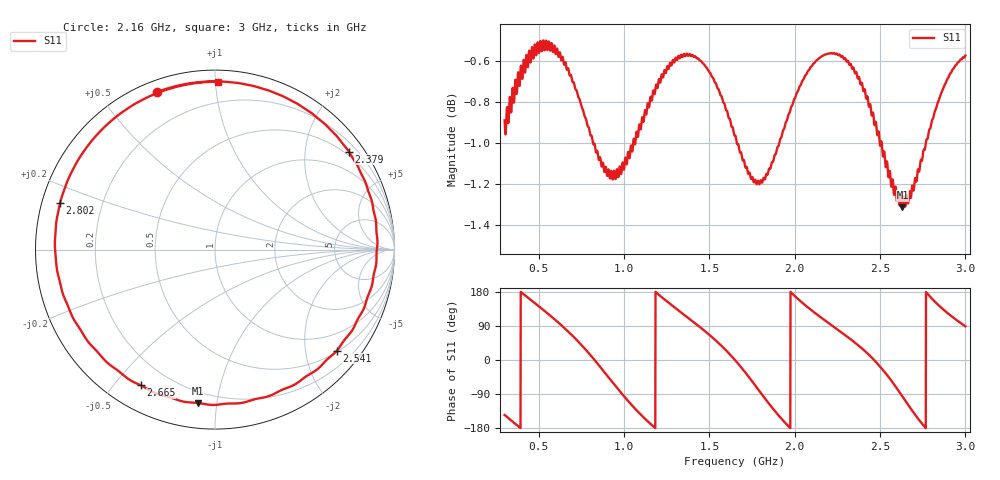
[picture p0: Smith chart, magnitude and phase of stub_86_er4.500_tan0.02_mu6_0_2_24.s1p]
! Chirptenna · simulación 3D de un stub abierto
# HZ S RI R 50
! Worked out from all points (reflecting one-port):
!   2001 points, 300 MHz to 3 GHz, reference 50 ohm
!   lowest |S11| = -1.3 dB at 2.631 GHz (marker M1), VSWR 13.25, Z = 6.75 - j44.2 ohm
!   phase of S11 starts at -145 deg and turns -1206 deg over the sweep
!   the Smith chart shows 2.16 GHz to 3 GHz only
!   S11 on the Smith chart (normalised r, x): 2.16 GHz: 0.05, +0.70; 2.379 GHz: 0.40, +3.01; 2.541 GHz: 0.53, -2.68; 2.665 GHz: 0.10, -0.59; 2.802 GHz: 0.05, +0.15; 3 GHz: 0.07, +1.02
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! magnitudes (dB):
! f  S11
! 300 MHz  -0.9
! 387.8 MHz  -0.7
! 468.8 MHz  -0.6
! 551.1 MHz  -0.5
! 637.5 MHz  -0.6
! 875.1 MHz  -1.1
! 975 MHz  -1.1
! 1.196 GHz  -0.7
! 1.312 GHz  -0.6
! 1.479 GHz  -0.6
! 1.65 GHz  -1.0
! 1.735 GHz  -1.1
! 1.801 GHz  -1.2
! 1.866 GHz  -1.1
! 1.988 GHz  -0.8
! 2.07 GHz  -0.7
! 2.16 GHz  -0.6
! 2.325 GHz  -0.6
! 2.379 GHz  -0.7
! 2.451 GHz  -0.9
! 2.541 GHz  -1.1
! 2.591 GHz  -1.2
! 2.631 GHz  -1.3
! 2.663 GHz  -1.3
! 2.665 GHz  -1.3
! 2.802 GHz  -0.9
! 2.899 GHz  -0.7
! 3 GHz  -0.6
